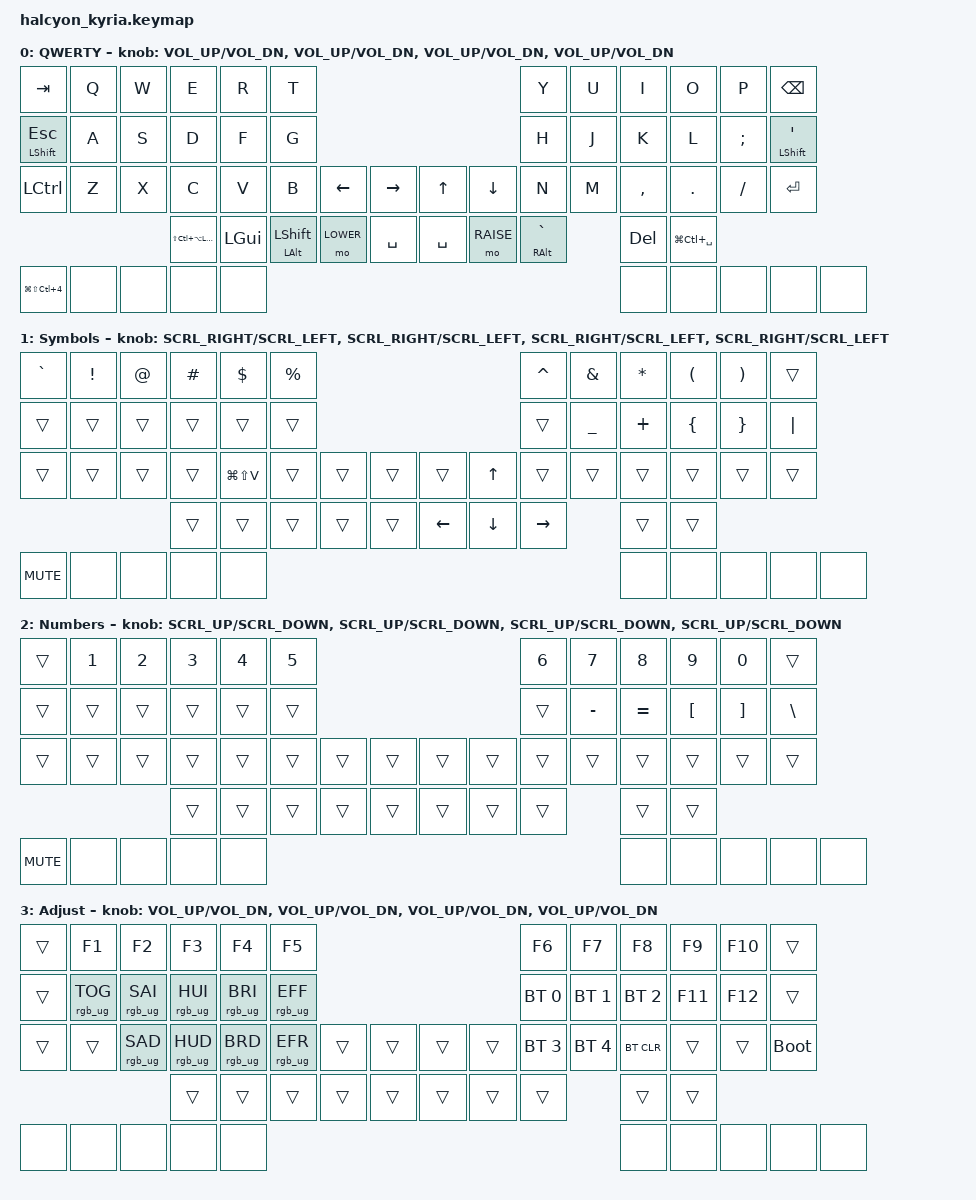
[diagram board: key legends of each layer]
/*
 * Halcyon Kyria (rev4) — ported from the QMK vineus_hlc keymap.
 * SPDX-License-Identifier: MIT
 */

#include <behaviors.dtsi>
#include <dt-bindings/zmk/bt.h>
#include <dt-bindings/zmk/keys.h>
#include <dt-bindings/zmk/rgb.h>
#include <dt-bindings/zmk/pointing.h>

#define DEFAULT 0
#define LOWER   1
#define RAISE   2
#define ADJUST  3

// macOS shortcuts, carried over from the QMK aliases
#define HYPER     LS(LC(LA(LGUI)))  // all four mods held, for Raycast/Karabiner bindings
#define CPY_PORT  LG(LS(LC(N4)))    // copy portion of screen
#define EMOJI     LG(LC(SPACE))
#define CLIPBRD   LG(LS(V))

// QMK ran TAPPING_TERM 100; ZMK's default is 200.
&mt {
    tapping-term-ms = <100>;
};

/ {
    // ZMK has no inc_dec_ms; the generic sensor-rotate-var wraps &msc for us.
    behaviors {
        inc_dec_msc: sensor_rotate_mouse_scroll {
            compatible = "zmk,behavior-sensor-rotate-var";
            #sensor-binding-cells = <2>;
            bindings = <&msc>, <&msc>;
        };
    };
};

/ {
    // QMK never bound MO(_ADJUST), so that layer was unreachable. Lower+Raise
    // now gets there, which is also the only way to reach the BT controls.
    conditional_layers {
        compatible = "zmk,conditional-layers";

        adjust {
            if-layers = <LOWER RAISE>;
            then-layer = <ADJUST>;
        };
    };

    keymap {
        compatible = "zmk,keymap";

        default_layer {
            display-name = "QWERTY";
// ,-------------------------------------------.                              ,-------------------------------------------.
// |  Tab   |   Q  |   W  |   E  |   R  |   T  |                              |   Y  |   U  |   I  |   O  |   P  |  Bksp  |
// |Esc/Shft|   A  |   S  |   D  |   F  |   G  |                              |   H  |   J  |   K  |   L  | ;  : | ' "/Sft|
// | LCtrl  |   Z  |   X  |   C  |   V  |   B  | Left | Right|  |  Up  | Down |   N  |   M  | ,  < | .  > | /  ? | Enter  |
//                        | Hyper| GUI  |Alt/Sft|Lower| Space|  | Space| Raise|Grv/Alt| Del | Emoji|
            bindings = <
&kp TAB       &kp Q &kp W &kp E     &kp R    &kp T                                                    &kp Y     &kp U    &kp I          &kp O    &kp P    &kp BSPC
&mt LSHFT ESC &kp A &kp S &kp D     &kp F    &kp G                                                    &kp H     &kp J    &kp K          &kp L    &kp SEMI &mt LSHFT SQT
&kp LCTRL     &kp Z &kp X &kp C     &kp V    &kp B          &kp LEFT  &kp RIGHT  &kp UP    &kp DOWN   &kp N     &kp M    &kp COMMA      &kp DOT  &kp FSLH &kp RET
                          &kp HYPER &kp LGUI &mt LALT LSHFT &mo LOWER &kp SPACE  &kp SPACE &mo RAISE  &mt RALT GRAVE     &kp DEL        &kp EMOJI

&kp CPY_PORT &none &none &none &none                                                                                     &none &none &none &none &none
            >;
            sensor-bindings = <&inc_dec_kp C_VOL_UP C_VOL_DN &inc_dec_kp C_VOL_UP C_VOL_DN &inc_dec_kp C_VOL_UP C_VOL_DN &inc_dec_kp C_VOL_UP C_VOL_DN>;
        };

        lower_layer {
            display-name = "Symbols";
// ,-------------------------------------------.                              ,-------------------------------------------.
// |   `    |  !   |  @   |  #   |  $   |  %   |                              |   ^  |  &   |  *   |  (   |   )  |        |
// |        |      |      |      |      |      |                              |      |   _  |  +   |  {   |   }  |   |    |
// |        |      |      |      | Clip |      |      |      |  |      |  Up  |      |      |      |      |      |        |
//                        |      |      |      |      |      |  | Left | Down |Right |      |      |
            bindings = <
&kp GRAVE &kp EXCL &kp AT &kp HASH &kp DLLR   &kp PRCNT                                       &kp CARET &kp AMPS  &kp STAR  &kp LPAR  &kp RPAR &trans
&trans    &trans   &trans &trans   &trans     &trans                                          &trans    &kp UNDER &kp PLUS  &kp LBRC  &kp RBRC &kp PIPE
&trans    &trans   &trans &trans   &kp CLIPBRD &trans   &trans &trans     &trans   &kp UP     &trans    &trans    &trans    &trans    &trans   &trans
                          &trans   &trans     &trans    &trans &trans     &kp LEFT &kp DOWN   &kp RIGHT &trans    &trans

&kp C_MUTE &none &none &none &none                                                                      &none &none &none &none &none
            >;
            sensor-bindings = <&inc_dec_msc SCRL_RIGHT SCRL_LEFT &inc_dec_msc SCRL_RIGHT SCRL_LEFT &inc_dec_msc SCRL_RIGHT SCRL_LEFT &inc_dec_msc SCRL_RIGHT SCRL_LEFT>;
        };

        raise_layer {
            display-name = "Numbers";
// ,-------------------------------------------.                              ,-------------------------------------------.
// |        |   1  |  2   |  3   |  4   |  5   |                              |  6   |  7   |  8   |  9   |  0   |        |
// |        |      |      |      |      |      |                              |      |   -  |   =  |   [  |   ]  |   \    |
            bindings = <
&trans &kp N1 &kp N2 &kp N3 &kp N4 &kp N5                                 &kp N6 &kp N7    &kp N8    &kp N9   &kp N0   &trans
&trans &trans &trans &trans &trans &trans                                 &trans &kp MINUS &kp EQUAL &kp LBKT &kp RBKT &kp BSLH
&trans &trans &trans &trans &trans &trans &trans &trans     &trans &trans &trans &trans    &trans    &trans   &trans   &trans
                     &trans &trans &trans &trans &trans     &trans &trans &trans &trans    &trans

&kp C_MUTE &none &none &none &none                                               &none &none &none &none &none
            >;
            sensor-bindings = <&inc_dec_msc SCRL_UP SCRL_DOWN &inc_dec_msc SCRL_UP SCRL_DOWN &inc_dec_msc SCRL_UP SCRL_DOWN &inc_dec_msc SCRL_UP SCRL_DOWN>;
        };

        adjust_layer {
            display-name = "Adjust";
// Reached with Lower + Raise. Function keys, RGB underglow, Bluetooth, bootloader.
            bindings = <
&trans &kp F1          &kp F2          &kp F3          &kp F4          &kp F5                                          &kp F6       &kp F7       &kp F8       &kp F9    &kp F10 &trans
&trans &rgb_ug RGB_TOG &rgb_ug RGB_SAI &rgb_ug RGB_HUI &rgb_ug RGB_BRI &rgb_ug RGB_EFF                                 &bt BT_SEL 0 &bt BT_SEL 1 &bt BT_SEL 2 &kp F11   &kp F12 &trans
&trans &trans          &rgb_ug RGB_SAD &rgb_ug RGB_HUD &rgb_ug RGB_BRD &rgb_ug RGB_EFR &trans &trans   &trans &trans   &bt BT_SEL 3 &bt BT_SEL 4 &bt BT_CLR   &trans    &trans  &bootloader
                                       &trans          &trans          &trans          &trans &trans   &trans &trans   &trans       &trans       &trans

&none &none &none &none &none                                                                                          &none &none &none &none &none
            >;
            sensor-bindings = <&inc_dec_kp C_VOL_UP C_VOL_DN &inc_dec_kp C_VOL_UP C_VOL_DN &inc_dec_kp C_VOL_UP C_VOL_DN &inc_dec_kp C_VOL_UP C_VOL_DN>;
        };
    };
};
